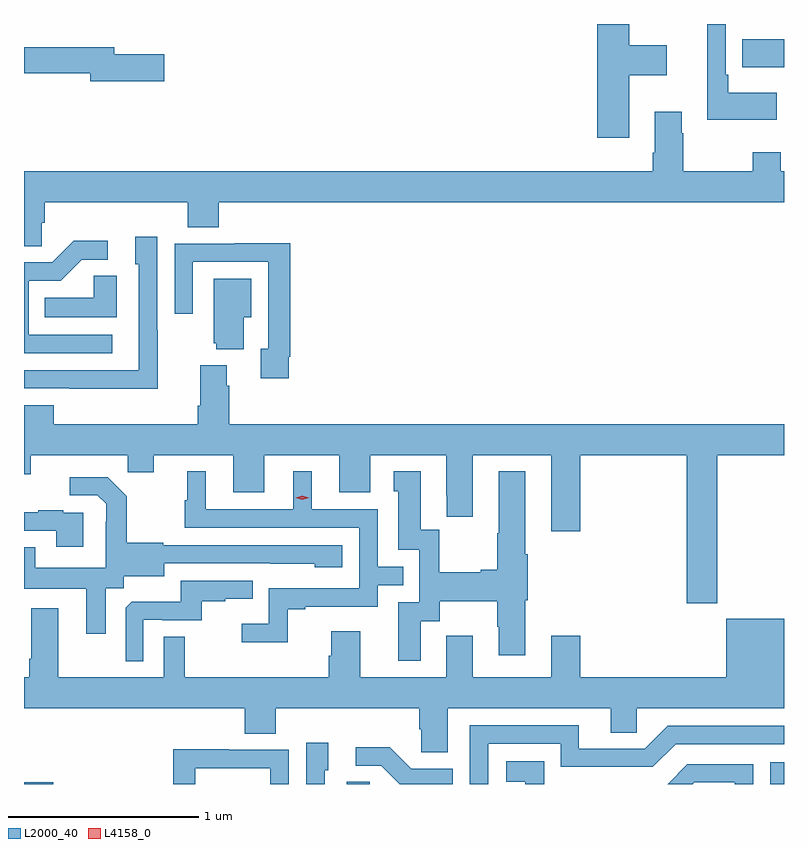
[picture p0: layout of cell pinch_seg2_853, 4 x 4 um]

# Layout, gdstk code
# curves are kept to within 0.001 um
import gdstk
lib = gdstk.Library(unit=1e-6, precision=1e-09)
def R(c, l, rs):  # rectangles x0, y0, x1, y1
    for r in rs: c.add(gdstk.rectangle(r[:2], r[2:], *l))
def P(c, l, *ps):  # polygons
    for p in ps: c.add(gdstk.Polygon(p, *l))
L2000_40 = (2000, 40)
L4158_0 = (4158, 0)

pinch_seg2_853 = lib.new_cell('pinch_seg2_853')
R(pinch_seg2_853, L2000_40, [(589.238,592.626,589.391,592.635), (590.936,592.626,591.057,592.637), (593.166,592.626,593.238,592.741), (593.017,596.399,593.238,596.547)])
P(pinch_seg2_853, L2000_40, [(593.201,596.263),(592.945,596.263),(592.945,596.359),(592.932,596.359),(592.932,596.626),(592.835,596.626),(592.835,596.123),(593.201,596.123)],
  [(592.423,596.357),(592.621,596.357),(592.621,596.515),(592.423,596.515),(592.423,596.626),(592.256,596.626),(592.256,596.028),(592.423,596.028)],
  [(589.975,596.468),(589.714,596.468),(589.714,596.504),(589.238,596.504),(589.238,596.368),(589.586,596.368),(589.586,596.326),(589.975,596.326)],
  [(589.332,595.579),(589.346,595.579),(589.346,595.688),(590.099,595.688),(590.099,595.555),(590.264,595.555),(590.264,595.688),(593.238,595.688),(593.238,595.852),(593.22,595.852),(593.22,595.951),(593.074,595.951),(593.074,595.852),(592.707,595.852),(592.707,596.051),(592.699,596.051),(592.699,596.164),(592.559,596.164),(592.559,595.948),(592.547,595.948),(592.547,595.852),(589.238,595.852),(589.238,595.456),(589.332,595.456)],
  [(589.941,595.013),(589.938,595.013),(589.938,595.507),(589.823,595.507),(589.823,595.362),(589.842,595.362),(589.842,594.804),(589.238,594.804),(589.238,594.708),(589.477,594.708),(589.477,594.707),(589.941,594.707)],
  [(589.702,594.99),(589.263,594.99),(589.263,595.275),(589.432,595.275),(589.543,595.386),(589.678,595.386),(589.678,595.484),(589.499,595.484),(589.386,595.371),(589.238,595.371),(589.238,594.894),(589.702,594.894)],
  [(590.632,594.874),(590.639,594.874),(590.639,595.472),(590.347,595.472),(590.347,595.47),(590.031,595.47),(590.031,595.101),(590.127,595.101),(590.127,595.374),(590.523,595.374),(590.523,594.918),(590.483,594.918),(590.483,594.762),(590.632,594.762)],
  [(589.726,595.301),(589.605,595.301),(589.605,595.186),(589.348,595.186),(589.348,595.082),(589.726,595.082)],
  [(590.395,595.082),(590.434,595.082),(590.434,595.285),(590.237,595.285),(590.237,594.945),(590.249,594.945),(590.249,594.914),(590.395,594.914)],
  [(592.887,594.356),(593.238,594.356),(593.238,594.52),(590.318,594.52),(590.318,594.722),(590.305,594.722),(590.305,594.829),(590.165,594.829),(590.165,594.616),(590.153,594.616),(590.153,594.52),(589.394,594.52),(589.394,594.619),(589.238,594.619),(589.238,594.257),(589.273,594.257),(589.273,594.356),(589.783,594.356),(589.783,594.266),(589.921,594.266),(589.921,594.356),(590.339,594.356),(590.339,594.162),(590.503,594.162),(590.503,594.356),(590.897,594.356),(590.897,594.162),(591.061,594.162),(591.061,594.356),(591.461,594.356),(591.461,594.145),(591.464,594.145),(591.464,594.033),(591.601,594.033),(591.601,594.356),(592.013,594.356),(592.013,593.955),(592.166,593.955),(592.166,594.356),(592.727,594.356),(592.727,593.577),(592.887,593.577)],
  [(591.325,593.482),(591.427,593.482),(591.427,593.588),(591.73,593.588),(591.73,593.454),(591.737,593.454),(591.737,593.304),(591.877,593.304),(591.877,593.592),(591.89,593.592),(591.89,593.836),(591.877,593.836),(591.877,594.271),(591.737,594.271),(591.737,593.945),(591.73,593.945),(591.73,593.753),(591.641,593.753),(591.641,593.74),(591.423,593.74),(591.423,593.963),(591.325,593.963),(591.325,594.271),(591.185,594.271),(591.185,594.168),(591.209,594.168),(591.209,593.859),(591.318,593.859),(591.318,593.583),(591.209,593.583),(591.209,593.274),(591.325,593.274)],
  [(590.625,593.547),(590.719,593.547),(590.719,593.559),(591.099,593.559),(591.099,593.673),(591.233,593.673),(591.233,593.769),(591.099,593.769),(591.099,594.072),(590.752,594.072),(590.752,594.271),(590.654,594.271),(590.654,594.072),(590.194,594.072),(590.194,594.271),(590.096,594.271),(590.096,594.12),(590.085,594.12),(590.085,593.976),(591.003,593.976),(591.003,593.655),(590.526,593.655),(590.526,593.47),(590.385,593.47),(590.385,593.372),(590.625,593.372)],
  [(589.669,593.656),(589.764,593.656),(589.764,593.72),(589.975,593.72),(589.975,593.787),(590.769,593.786),(590.769,593.768),(590.914,593.768),(590.914,593.883),(589.971,593.883),(589.971,593.896),(589.779,593.896),(589.779,594.141),(589.679,594.241),(589.479,594.241),(589.479,594.147),(589.623,594.147),(589.67,594.1),(589.67,594.005),(589.668,594.005),(589.668,593.764),(589.297,593.764),(589.297,593.873),(589.238,593.873),(589.238,593.654),(589.565,593.654),(589.565,593.418),(589.669,593.418)],
  [(589.549,594.054),(589.445,594.054),(589.445,594.067),(589.313,594.067),(589.313,594.056),(589.238,594.056),(589.238,593.958),(589.409,593.958),(589.409,593.874),(589.549,593.874)],
  [(589.866,593.49),(589.966,593.49),(589.966,593.487),(590.174,593.487),(590.174,593.589),(590.297,593.589),(590.297,593.6),(590.441,593.6),(590.441,593.697),(590.064,593.697),(590.064,593.585),(589.805,593.585),(589.773,593.553),(589.773,593.273),(589.866,593.273)],
  [(593.238,593.497),(592.934,593.497),(592.934,593.188),(592.166,593.188),(592.166,593.407),(592.013,593.407),(592.013,593.188),(591.601,593.188),(591.601,593.407),(591.461,593.407),(591.461,593.188),(591.007,593.188),(591.007,593.431),(590.855,593.431),(590.855,593.301),(590.843,593.301),(590.843,593.188),(590.083,593.188),(590.083,593.402),(589.974,593.402),(589.974,593.188),(589.417,593.188),(589.417,593.551),(589.277,593.551),(589.277,593.284),(589.265,593.284),(589.265,593.188),(589.238,593.188),(589.238,593.024),(590.399,593.024),(590.399,592.891),(590.564,592.891),(590.564,593.024),(591.317,593.024),(591.317,592.915),(591.33,592.915),(591.33,592.792),(591.469,592.792),(591.469,593.024),(592.325,593.024),(592.325,592.897),(592.464,592.897),(592.464,593.024),(593.238,593.024)],
  [(591.681,592.839),(592.062,592.839),(592.062,592.716),(592.548,592.716),(592.668,592.836),(593.238,592.836),(593.238,592.932),(592.626,592.932),(592.506,592.812),(592.159,592.812),(592.159,592.935),(591.585,592.935),(591.585,592.626),(591.681,592.626)],
  [(590.82,592.698),(590.839,592.698),(590.839,592.843),(590.724,592.843),(590.724,592.626),(590.82,592.626)],
  [(591.495,592.707),(591.276,592.707),(591.163,592.82),(590.985,592.82),(590.985,592.722),(591.119,592.722),(591.215,592.626),(591.495,592.626)],
  [(590.139,592.71),(590.535,592.71),(590.535,592.626),(590.631,592.626),(590.631,592.806),(590.315,592.806),(590.315,592.808),(590.023,592.808),(590.023,592.626),(590.139,592.626)],
  [(591.975,592.747),(591.777,592.747),(591.777,592.637),(591.875,592.637),(591.875,592.626),(591.975,592.626)],
  [(592.766,592.634),(592.98,592.634),(592.98,592.626),(593.076,592.626),(593.076,592.731),(592.73,592.731),(592.625,592.626),(592.758,592.626)])
P(pinch_seg2_853, L4158_0, [(590.703,594.123),(590.667,594.133),(590.667,594.133),(590.667,594.133),(590.703,594.143),(590.738,594.133),(590.739,594.133),(590.738,594.133)])

lib.write_gds('pinch_seg2_853.gds')
